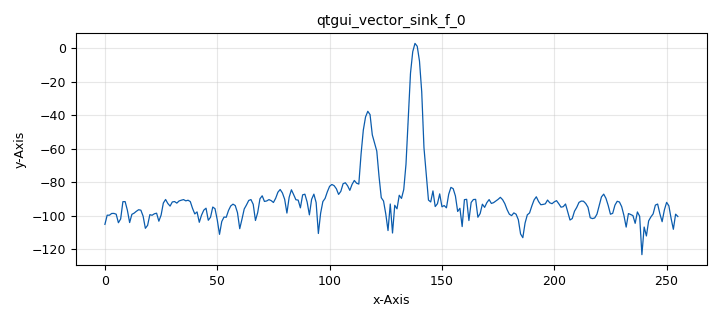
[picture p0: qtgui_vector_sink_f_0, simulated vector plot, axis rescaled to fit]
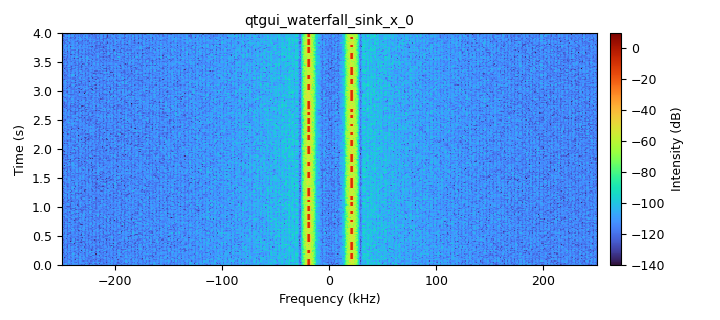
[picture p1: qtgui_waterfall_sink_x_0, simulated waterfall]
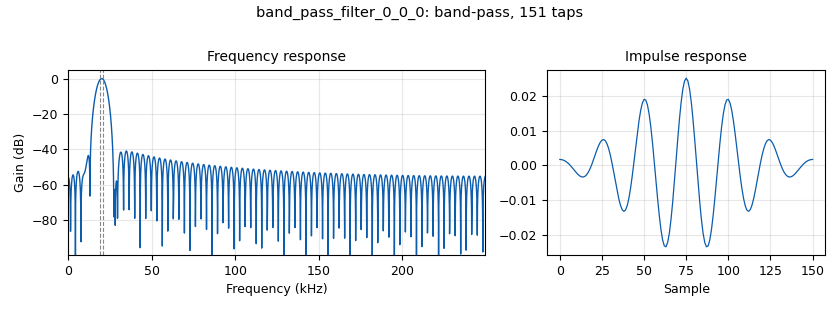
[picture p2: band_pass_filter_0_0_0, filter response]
options:
  parameters:
    author: sennels
    generate_options: qt_gui
    id: Transfrans
    output_language: python
    title: Not titled yet
  states: {}

blocks:
- name: Base_samp_rate
  id: variable
  parameters:
    value: Symbol_rate*samples_pr_sym
  states: {}
- name: FFT_bins
  id: variable
  parameters:
    value: '256'
  states: {}
- name: PI
  id: variable
  parameters:
    value: '3.14159265358979323'
  states: {}
- name: Symbol_rate
  id: variable
  parameters:
    value: (31)*2
  states: {}
- name: samp_rate
  id: variable
  parameters:
    value: '500000'
  states: {}
- name: samples_pr_sym
  id: variable
  parameters:
    value: '3'
  states: {}
- name: sep_freq
  id: variable
  parameters:
    value: '20000'
  states: {}
- name: toggle_amplitude
  id: variable_qtgui_toggle_button_msg
  parameters:
    initPressed: 'False'
    label: Transmit
    outputmsgname: toggle_amplitude
    pressed: '1'
    released: '0'
    type: real
    value: '1'
  states: {}
- name: toggle_invert
  id: variable_qtgui_toggle_button_msg
  parameters:
    initPressed: 'False'
    label: Invert
    outputmsgname: toggle_amplitude
    pressed: '1'
    released: '-1'
    type: real
    value: '-1'
  states: {}
- name: analog_quadrature_demod_cf_0_0
  id: analog_quadrature_demod_cf
  parameters:
    gain: samp_rate/(2*math.pi*sep_freq)
  states: {state: disabled}
- name: analog_quadrature_demod_cf_0_0_0
  id: analog_quadrature_demod_cf
  parameters:
    gain: samp_rate/(2*math.pi*sep_freq)
  states: {state: disabled}
- name: band_pass_filter_0_0_0
  id: band_pass_filter
  parameters:
    decim: '1'
    gain: '1'
    high_cutoff_freq: sep_freq+1000
    low_cutoff_freq: sep_freq-1000
    samp_rate: samp_rate
    type: fir_filter_ccf
    width: '8000'
    win: window.WIN_HAMMING
  states: {}
- name: band_pass_filter_0_0_0_0
  id: band_pass_filter
  parameters:
    decim: '1'
    gain: '1'
    high_cutoff_freq: sep_freq+1000
    low_cutoff_freq: sep_freq-1000
    samp_rate: samp_rate
    type: fir_filter_ccf
    width: '8000'
    win: window.WIN_HAMMING
  states: {}
- name: blocks_multiply_const_vxx_0
  id: blocks_multiply_const_vxx
  parameters:
    const: toggle_invert
    type: float
  states: {}
- name: blocks_multiply_const_vxx_0_0
  id: blocks_multiply_const_vxx
  parameters:
    const: sep_freq
    type: float
  states: {}
- name: blocks_multiply_const_vxx_0_1
  id: blocks_multiply_const_vxx
  parameters:
    const: toggle_amplitude
    type: complex
  states: {}
- name: blocks_repeat_0
  id: blocks_repeat
  parameters:
    interp: int(((samp_rate)/(Symbol_rate))*samples_pr_sym)
    type: float
  states: {}
- name: blocks_throttle2_0
  id: blocks_throttle2
  parameters:
    samples_per_second: samp_rate
    type: float
  states: {}
- name: blocks_vco_c_0_0
  id: blocks_vco_c
  parameters:
    amplitude: '1'
    samp_rate: samp_rate
    sensitivity: 2*PI
  states: {}
- name: blocks_vector_source_x_0
  id: blocks_vector_source_x
  parameters:
    repeat: 'True'
    type: float
    vector: (1,  1, -1, -1,  1, -1, -1, -1,  1,  1,  1, -1, -1,  1,  1, -1,  1, 1, -1,  1,  1, -1,  1, -1,  1,  1,  1, -1, -1, -1, -1)
    vlen: '31'
  states: {}
- name: blocks_vector_to_stream_0
  id: blocks_vector_to_stream
  parameters:
    num_items: '31'
    type: float
  states: {}
- name: blocks_vector_to_stream_1
  id: blocks_vector_to_stream
  parameters:
    num_items: FFT_bins
    type: float
  states: {}
- name: channels_channel_model_0
  id: channels_channel_model
  parameters:
    epsilon: '1.0'
    freq_offset: '0.0'
    noise_voltage: '0.1'
    seed: '0'
    taps: '1.0'
  states: {}
- name: epy_block_0
  id: epy_block
  parameters:
    _source_code: |
      import numpy as np
      from gnuradio import gr

      class blk(gr.sync_block):
          """Takes a scalar input and outputs a scaled vector."""

          def __init__(self, chip_vector=[-1, -1, -1, -1, -1, -1, -1, 1, -1, 1, 1, -1, -1, -1, 1, 1, -1, 1, 1, 1, -1, -1, 1, -1, -1, -1, -1, -1, 1, 1, 1]):

              self.chip_vector = np.array(chip_vector, dtype=np.float32)

              gr.sync_block.__init__(
                  self,
                  name='Scalar to Vector Block',
                  in_sig=[np.float32],                     # Single float input per item
                  out_sig=[(np.float32, len(chip_vector))] # Vector output per item
              )

          def work(self, input_items, output_items):
              x = input_items[0]           # shape: (ninput_items,)
              out = output_items[0]        # shape: (ninput_items, len(chip_vector))
              out[:] = x[:, np.newaxis] * self.chip_vector
              return len(out)
    chip_vector: (-1, -1, -1, -1, -1, -1, -1, 1, -1, 1, 1, -1, -1, -1, 1, 1, -1, 1, 1, 1, -1, -1, 1, -1, -1, -1, -1, -1, 1, 1, 1)
  states: {state: disabled}
- name: logpwrfft_x_0
  id: logpwrfft_x
  parameters:
    average: 'False'
    avg_alpha: '1.0'
    fft_size: FFT_bins
    frame_rate: Base_samp_rate
    ref_scale: '1'
    sample_rate: samp_rate
    shift: 'True'
    type: complex
  states: {}
- name: network_udp_sink_0
  id: network_udp_sink
  parameters:
    addr: 127.0.0.1
    header: '0'
    payloadsize: FFT_bins*4
    port: '5006'
    send_eof: 'False'
    type: float
  states: {}
- name: network_udp_source_0
  id: network_udp_source
  parameters:
    header: '0'
    ipv6: 'False'
    notify_missed: 'False'
    payloadsize: 5*4
    port: '5006'
    src_zeros: 'False'
    type: float
  states: {state: disabled}
- name: qtgui_time_sink_x_0_1
  id: qtgui_time_sink_x
  parameters:
    name: '"Quadrature decoder"'
    size: int((samp_rate)/(Symbol_rate))*31
    srate: samp_rate
    type: float
  states: {state: disabled}
- name: qtgui_time_sink_x_0_1_0
  id: qtgui_time_sink_x
  parameters:
    name: '"Quadrature decoder"'
    size: int(Base_samp_rate*0.5)
    srate: Base_samp_rate
    type: float
  states: {state: disabled}
- name: qtgui_vector_sink_f_0
  id: qtgui_vector_sink_f
  parameters:
    average: '0.2'
    vlen: FFT_bins
    x_start: '0'
    x_step: '1.0'
    ymax: '1'
    ymin: '-20'
  states: {}
- name: qtgui_waterfall_sink_x_0
  id: qtgui_waterfall_sink_x
  parameters:
    bw: samp_rate
    fc: '0'
    fftsize: '1024'
    type: complex
  states: {}
- name: rational_resampler_xxx_0_0_0
  id: rational_resampler_xxx
  parameters:
    decim: samp_rate
    interp: Base_samp_rate
    type: fff
  states: {state: disabled}
- name: rational_resampler_xxx_0_0_0_0
  id: rational_resampler_xxx
  parameters:
    decim: samp_rate
    interp: Base_samp_rate
    type: fff
  states: {state: disabled}

connections:
- [analog_quadrature_demod_cf_0_0, '0', qtgui_time_sink_x_0_1, '0']
- [analog_quadrature_demod_cf_0_0, '0', rational_resampler_xxx_0_0_0, '0']
- [analog_quadrature_demod_cf_0_0_0, '0', rational_resampler_xxx_0_0_0_0, '0']
- [band_pass_filter_0_0_0, '0', analog_quadrature_demod_cf_0_0_0, '0']
- [band_pass_filter_0_0_0, '0', logpwrfft_x_0, '0']
- [band_pass_filter_0_0_0, '0', qtgui_waterfall_sink_x_0, '0']
- [band_pass_filter_0_0_0_0, '0', channels_channel_model_0, '0']
- [blocks_multiply_const_vxx_0, '0', blocks_vco_c_0_0, '0']
- [blocks_multiply_const_vxx_0_0, '0', blocks_multiply_const_vxx_0, '0']
- [blocks_multiply_const_vxx_0_1, '0', band_pass_filter_0_0_0_0, '0']
- [blocks_repeat_0, '0', blocks_throttle2_0, '0']
- [blocks_throttle2_0, '0', blocks_multiply_const_vxx_0_0, '0']
- [blocks_vco_c_0_0, '0', blocks_multiply_const_vxx_0_1, '0']
- [blocks_vector_source_x_0, '0', blocks_vector_to_stream_0, '0']
- [blocks_vector_to_stream_0, '0', blocks_repeat_0, '0']
- [blocks_vector_to_stream_1, '0', network_udp_sink_0, '0']
- [channels_channel_model_0, '0', band_pass_filter_0_0_0, '0']
- [epy_block_0, '0', blocks_vector_to_stream_0, '0']
- [logpwrfft_x_0, '0', blocks_vector_to_stream_1, '0']
- [logpwrfft_x_0, '0', qtgui_vector_sink_f_0, '0']
- [network_udp_source_0, '0', epy_block_0, '0']
- [rational_resampler_xxx_0_0_0_0, '0', qtgui_time_sink_x_0_1_0, '0']

metadata:
  file_format: 1
  grc_version: 3.10.12.0
